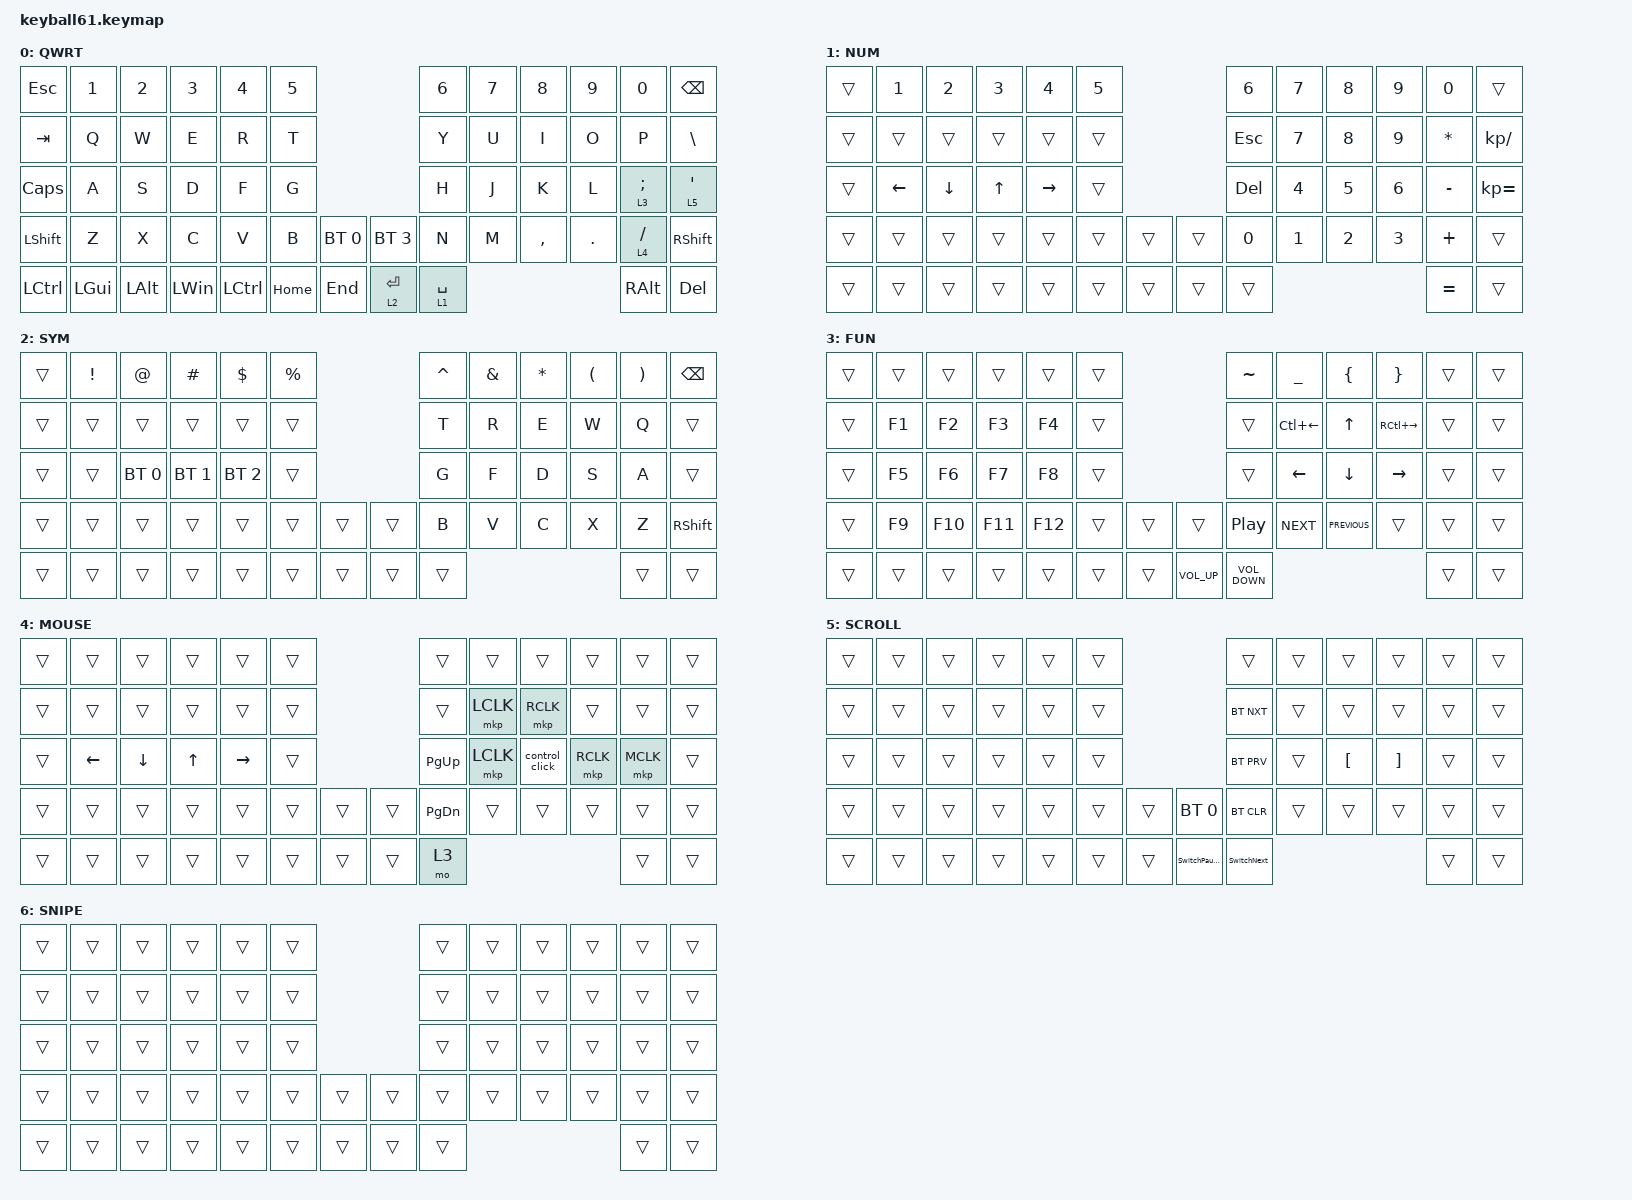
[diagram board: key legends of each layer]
#define DEFAULT 0
#define SYM     1
#define FUN     2
#define MOUSE   3
#define SCROLL  4
#define SNIPE   5

#include <behaviors/mouse_keys.dtsi>
#include <dt-bindings/zmk/mouse.h>
#include <behaviors.dtsi>
#include <dt-bindings/zmk/bt.h>
#include <dt-bindings/zmk/keys.h>
#include <dt-bindings/zmk/pointing.h>

&lt {
    tapping-term-ms = <240>;
    flavor = "balanced";
    quick-tap-ms = <150>;
};

&mt {
    tapping-term-ms = <200>;
    flavor = "tap-preferred";
    quick-tap-ms = <150>;
};

/ {
    macros {
        SwitchNext: SwitchNext {
            compatible = "zmk,behavior-macro";
            #binding-cells = <0>;
            bindings = <&macro_tap>, <&bt BT_SEL 3 &kp C_NEXT &bt BT_SEL 0>;

            label = "SWITCHNEXT";
        };

        SwitchPause: SwitchPause {
            compatible = "zmk,behavior-macro";
            #binding-cells = <0>;
            bindings =
                <&macro_tap>,
                <&bt BT_SEL 3 &kp C_PLAY_PAUSE &bt BT_SEL 0>;

            label = "SWITCHPAUSE";
        };

        control_click: control_click {
            compatible = "zmk,behavior-macro";
            #binding-cells = <0>;
            bindings = <&macro_press>, <&kp LEFT_CONTROL &mkp LCLK>;

            label = "CONTROL_CLICK";
        };
    };

    keymap {
        compatible = "zmk,keymap";

        default_layer {
            label = "QWRT";
            bindings = <
&kp ESC           &kp N1        &kp N2        &kp N3        &kp N4            &kp N5                                &kp N6       &kp N7  &kp N8     &kp N9   &kp N0           &kp BSPC
&kp TAB           &kp Q         &kp W         &kp E         &kp R             &kp T                                 &kp Y        &kp U   &kp I      &kp O    &kp P            &kp BACKSLASH
&kp CAPS          &kp A         &kp S         &kp D         &kp F             &kp G                                 &kp H        &kp J   &kp K      &kp L    &lt 3 SEMICOLON  &lt 5 SQT
&kp LEFT_SHIFT    &kp Z         &kp X         &kp C         &kp V             &kp B     &bt BT_SEL 0  &bt BT_SEL 3  &kp N        &kp M   &kp COMMA  &kp DOT  &lt 4 SLASH      &kp RIGHT_SHIFT
&kp LEFT_CONTROL  &kp LEFT_GUI  &kp LEFT_ALT  &kp LEFT_WIN  &kp LEFT_CONTROL  &kp HOME  &kp END       &lt 2 RET     &lt 1 SPACE                              &kp RIGHT_ALT    &kp DELETE
            >;
        };

        number_layer {
            bindings = <
&trans  &kp N1    &kp N2    &kp N3  &kp N4     &kp N5                  &kp N6        &kp N7        &kp N8        &kp N9        &kp N0        &trans
&trans  &trans    &trans    &trans  &trans     &trans                  &kp ESC       &kp NUMBER_7  &kp NUMBER_8  &kp NUMBER_9  &kp ASTERISK  &kp KP_DIVIDE
&trans  &kp LEFT  &kp DOWN  &kp UP  &kp RIGHT  &trans                  &kp DEL       &kp NUMBER_4  &kp NUMBER_5  &kp NUMBER_6  &kp MINUS     &kp KP_EQUAL
&trans  &trans    &trans    &trans  &trans     &trans  &trans  &trans  &kp NUMBER_0  &kp NUMBER_1  &kp NUMBER_2  &kp NUMBER_3  &kp PLUS      &trans
&trans  &trans    &trans    &trans  &trans     &trans  &trans  &trans  &trans                                                  &kp EQUAL     &trans
            >;

            label = "NUM";
        };

        symbol_layer {
            label = "SYM";
            bindings = <
&trans  &kp EXCLAMATION  &kp AT_SIGN   &kp HASH      &kp DOLLAR    &kp PERCENT                  &kp CARET  &kp AMPERSAND  &kp ASTERISK  &kp LEFT_PARENTHESIS  &kp RIGHT_PARENTHESIS  &kp BACKSPACE
&trans  &trans           &trans        &trans        &trans        &trans                       &kp T      &kp R          &kp E         &kp W                 &kp Q                  &trans
&trans  &trans           &bt BT_SEL 0  &bt BT_SEL 1  &bt BT_SEL 2  &trans                       &kp G      &kp F          &kp D         &kp S                 &kp A                  &trans
&trans  &trans           &trans        &trans        &trans        &trans       &trans  &trans  &kp B      &kp V          &kp C         &kp X                 &kp Z                  &kp RSHIFT
&trans  &trans           &trans        &trans        &trans        &trans       &trans  &trans  &trans                                                        &trans                 &trans
            >;
        };

        Arrows_Function {
            label = "FUN";
            bindings = <
&trans  &trans  &trans   &trans   &trans   &trans                           &kp TILDE          &kp UNDERSCORE      &kp LEFT_BRACE  &kp RIGHT_BRACE      &trans  &trans
&trans  &kp F1  &kp F2   &kp F3   &kp F4   &trans                           &trans             &kp LC(LEFT_ARROW)  &kp UP_ARROW    &kp RC(RIGHT_ARROW)  &trans  &trans
&trans  &kp F5  &kp F6   &kp F7   &kp F8   &trans                           &trans             &kp LEFT_ARROW      &kp DOWN_ARROW  &kp RIGHT_ARROW      &trans  &trans
&trans  &kp F9  &kp F10  &kp F11  &kp F12  &trans  &trans  &trans           &kp C_PLAY_PAUSE   &kp C_NEXT          &kp C_PREVIOUS  &trans               &trans  &trans
&trans  &trans  &trans   &trans   &trans   &trans  &trans  &kp C_VOLUME_UP  &kp C_VOLUME_DOWN                                                           &trans  &trans
            >;
        };

        mouse_layer {
            label = "MOUSE";
            bindings = <
&trans  &trans    &trans    &trans  &trans     &trans                  &trans         &trans     &trans          &trans     &trans     &trans
&trans  &trans    &trans    &trans  &trans     &trans                  &trans         &mkp LCLK  &mkp RCLK       &trans     &trans     &trans
&trans  &kp LEFT  &kp DOWN  &kp UP  &kp RIGHT  &trans                  &kp PAGE_UP    &mkp LCLK  &control_click  &mkp RCLK  &mkp MCLK  &trans
&trans  &trans    &trans    &trans  &trans     &trans  &trans  &trans  &kp PAGE_DOWN  &trans     &trans          &trans     &trans     &trans
&trans  &trans    &trans    &trans  &trans     &trans  &trans  &trans  &mo 3                                                &trans     &trans
            >;
        };

        scroll_layer {
            label = "SCROLL";
            bindings = <
&trans  &trans  &trans  &trans  &trans  &trans                        &trans       &trans  &trans            &trans             &trans  &trans
&trans  &trans  &trans  &trans  &trans  &trans                        &bt BT_NXT   &trans  &trans            &trans             &trans  &trans
&trans  &trans  &trans  &trans  &trans  &trans                        &bt BT_PRV   &trans  &kp LEFT_BRACKET  &kp RIGHT_BRACKET  &trans  &trans
&trans  &trans  &trans  &trans  &trans  &trans  &trans  &bt BT_SEL 0  &bt BT_CLR   &trans  &trans            &trans             &trans  &trans
&trans  &trans  &trans  &trans  &trans  &trans  &trans  &SwitchPause  &SwitchNext                                               &trans  &trans
            >;
        };

        snipe_layer {
            label = "SNIPE";
            bindings = <
&trans  &trans  &trans  &trans  &trans  &trans                  &trans  &trans  &trans  &trans  &trans  &trans
&trans  &trans  &trans  &trans  &trans  &trans                  &trans  &trans  &trans  &trans  &trans  &trans
&trans  &trans  &trans  &trans  &trans  &trans                  &trans  &trans  &trans  &trans  &trans  &trans
&trans  &trans  &trans  &trans  &trans  &trans  &trans  &trans  &trans  &trans  &trans  &trans  &trans  &trans
&trans  &trans  &trans  &trans  &trans  &trans  &trans  &trans  &trans                          &trans  &trans
            >;
        };
    };
};
